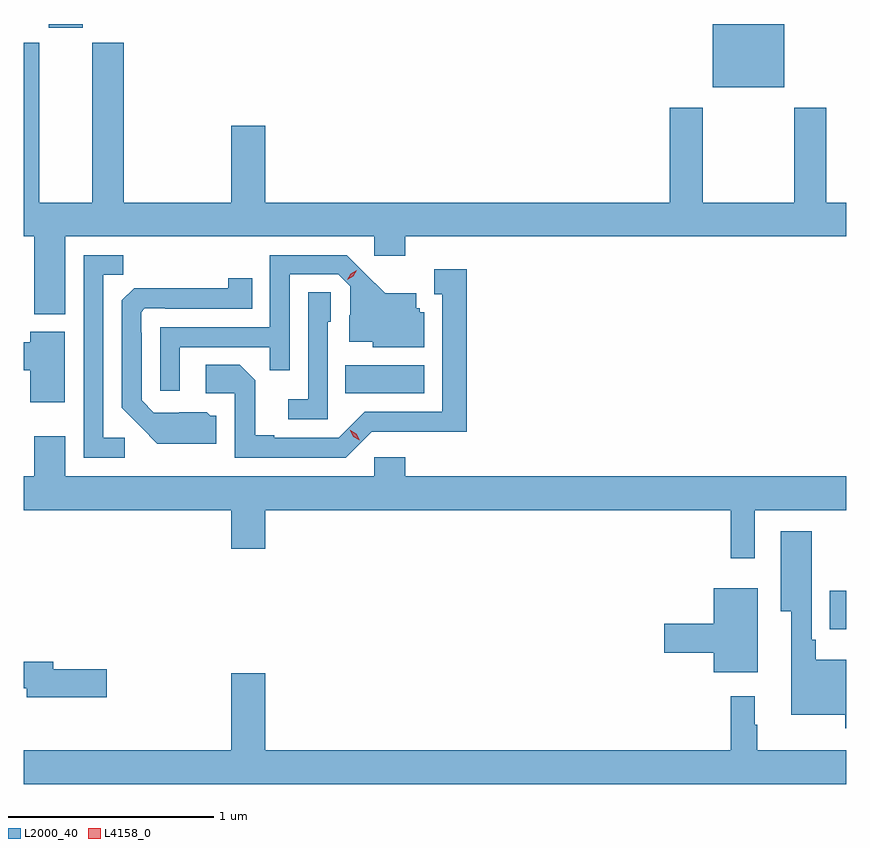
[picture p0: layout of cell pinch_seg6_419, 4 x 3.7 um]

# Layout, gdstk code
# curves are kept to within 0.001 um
import gdstk
lib = gdstk.Library(unit=1e-6, precision=1e-09)
def R(c, l, rs):  # rectangles x0, y0, x1, y1
    for r in rs: c.add(gdstk.rectangle(r[:2], r[2:], *l))
def P(c, l, *ps):  # polygons
    for p in ps: c.add(gdstk.Polygon(p, *l))
L2000_40 = (2000, 40)
L4158_0 = (4158, 0)

pinch_seg6_419 = lib.new_cell('pinch_seg6_419')
R(pinch_seg6_419, L2000_40, [(695.39,922.781,695.47,922.969), (693.034,923.93,693.418,924.064), (694.82,925.418,695.17,925.725), (691.592,925.707,691.756,925.725)])
P(pinch_seg6_419, L2000_40, [(691.672,924.692),(693.174,924.692),(693.174,924.597),(693.326,924.597),(693.326,924.692),(695.47,924.692),(695.47,924.856),(695.373,924.856),(695.373,925.318),(695.218,925.318),(695.218,924.856),(694.773,924.856),(694.773,925.318),(694.613,925.318),(694.613,924.856),(692.644,924.856),(692.644,925.231),(692.48,925.231),(692.48,924.856),(691.955,924.856),(691.955,925.635),(691.802,925.635),(691.802,924.856),(691.546,924.856),(691.546,925.635),(691.47,925.635),(691.47,924.692),(691.52,924.692),(691.52,924.314),(691.672,924.314)],
  [(692.229,924.153),(692.665,924.153),(692.665,924.04),(692.763,924.04),(692.763,924.507),(693,924.507),(693.057,924.45),(693.057,924.308),(693.053,924.308),(693.053,924.179),(693.168,924.179),(693.168,924.152),(693.418,924.152),(693.418,924.324),(693.396,924.324),(693.396,924.342),(693.379,924.342),(693.379,924.415),(693.227,924.415),(693.04,924.6),(692.667,924.6),(692.667,924.249),(692.133,924.249),(692.133,923.94),(692.229,923.94)],
  [(691.96,923.712),(691.857,923.712),(691.857,924.505),(691.953,924.505),(691.953,924.6),(691.761,924.6),(691.761,923.616),(691.96,923.616)],
  [(693.162,923.742),(693.625,923.741),(693.625,924.532),(693.467,924.532),(693.467,924.411),(693.506,924.411),(693.506,923.838),(693.129,923.838),(693.003,923.712),(692.689,923.712),(692.689,923.725),(692.595,923.725),(692.595,923.992),(692.519,924.068),(692.355,924.068),(692.355,923.928),(692.496,923.928),(692.496,923.616),(693.036,923.616)],
  [(692.407,923.82),(692.376,923.82),(692.36,923.836),(692.103,923.835),(692.043,923.895),(692.043,924.224),(692.04,924.224),(692.04,924.324),(692.058,924.342),(692.158,924.342),(692.158,924.339),(692.582,924.339),(692.582,924.487),(692.464,924.487),(692.464,924.44),(692.006,924.439),(691.947,924.38),(691.947,923.858),(692.119,923.684),(692.407,923.684)],
  [(692.949,924.276),(692.964,924.276),(692.964,924.419),(692.853,924.419),(692.853,923.899),(692.757,923.899),(692.757,923.802),(692.949,923.802)],
  [(691.669,924.229),(691.502,924.229),(691.502,924.176),(691.47,924.176),(691.47,924.04),(691.502,924.04),(691.502,923.886),(691.669,923.886)],
  [(695.025,923.36),(695.47,923.36),(695.47,923.524),(693.326,923.524),(693.326,923.617),(693.174,923.617),(693.174,923.524),(691.672,923.524),(691.672,923.719),(691.52,923.719),(691.52,923.524),(691.47,923.524),(691.47,923.36),(692.48,923.36),(692.48,923.172),(692.644,923.172),(692.644,923.36),(694.909,923.36),(694.909,923.127),(695.025,923.127)],
  [(695.47,922.633),(695.321,922.633),(695.321,922.729),(695.302,922.729),(695.302,923.257),(695.153,923.257),(695.153,922.868),(695.204,922.868),(695.204,922.364),(695.466,922.364),(695.466,922.299),(695.47,922.299)],
  [(695.041,922.981),(694.826,922.981),(694.826,922.808),(694.584,922.808),(694.584,922.666),(694.826,922.666),(694.826,922.571),(695.041,922.571)],
  [(691.873,922.586),(691.612,922.586),(691.612,922.622),(691.47,922.622),(691.47,922.494),(691.484,922.494),(691.484,922.451),(691.873,922.451)],
  [(695.47,922.192),(695.038,922.192),(695.038,922.316),(695.026,922.316),(695.026,922.456),(694.909,922.456),(694.909,922.192),(692.644,922.192),(692.644,922.567),(692.48,922.567),(692.48,922.192),(691.47,922.192),(691.47,922.028),(695.47,922.028)])
P(pinch_seg6_419, L4158_0, [(693.104,923.699),(693.072,923.718),(693.055,923.751),(693.055,923.751),(693.055,923.751),(693.087,923.732),(693.104,923.699),(693.104,923.699)],
  [(693.042,924.481),(693.042,924.481),(693.059,924.511),(693.09,924.527),(693.09,924.527),(693.09,924.527),(693.073,924.497),(693.043,924.481)])

lib.write_gds('pinch_seg6_419.gds')
